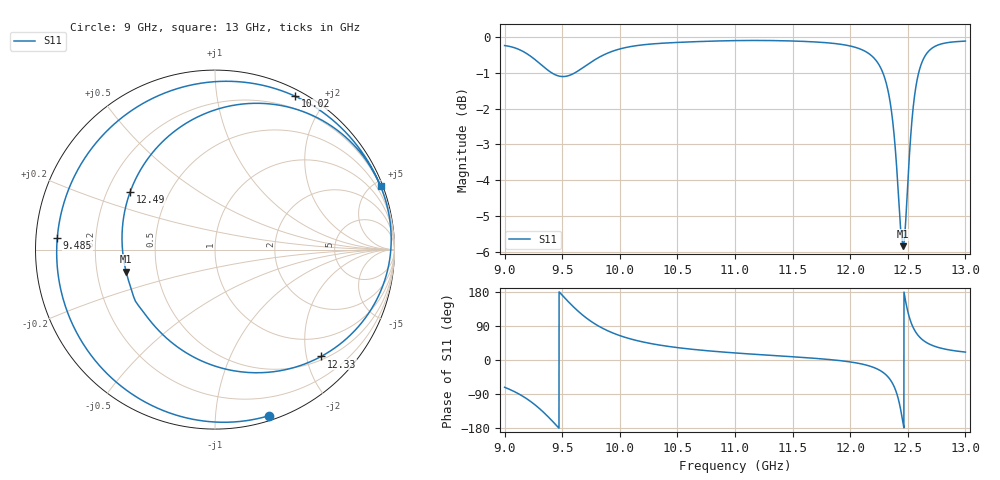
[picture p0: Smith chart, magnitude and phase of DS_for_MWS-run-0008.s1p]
! TOUCHSTONE file generated by CST DESIGN STUDIO
! Date and time: Tue Feb  4 14:01:45 2025
! Project name: C:\Work\MatlabApps\UnitCellOptimizationMatlab\CST\unitcell.cst
! Tree item: Tasks\Sweep1\SPara1\S-Parameters
! Header version: 2024
! Port assignment regex: !\s*Touchstone port\s*([0-9]+)\s*=\s*(CST MWS port|CST DES external port|CST DES block port)\s*(.+)\s* \(\"(.*)\"\)(\s*mode\s*([0-9]+))?.*
! Touchstone port assignment:
! Touchstone port 1 = CST DES external port 1 ("")
# GHz S MA R 50
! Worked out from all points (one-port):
!   4001 points, 9 GHz to 13 GHz, reference 50 ohm
!   lowest |S11| = -5.8 dB at 12.46 GHz (marker M1), VSWR 3.08, Z = 16.4 - j5.42 ohm
!   |S11| at or under -10 dB: nowhere
!   S11 on the Smith chart (normalised r, x): 9 GHz: 0.04, -1.38; 9.485 GHz: 0.06, +0.04; 10.02 GHz: 0.07, +1.65; 12.33 GHz: 0.57, -2.29; 12.49 GHz: 0.30, +0.28; 13 GHz: 0.20, +5.41
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9  0.9731 -72.0
9.149  0.9568 -94.0
9.26  0.9312 -117.4
9.387  0.8961 -152.6
9.485  0.8812 175.8
9.5  0.8807 170.9
9.611  0.8915 136.4
9.714  0.9142 109.8
9.832  0.9393 86.8
10  0.9624 64.4
10.02  0.9643 62.3
10.5  0.9829 32.7
11  0.9886 18.6
11.5  0.9874 8.6
12  0.9716 -5.1
12.218  0.9302 -21.4
12.33  0.8392 -45.2
12.405  0.652 -89.2
12.432  0.5559 -121.6
12.459  0.5103 -166.2
12.487  0.5717 145.7
12.5  0.6248 127.9
12.526  0.7303 101.0
12.555  0.8189 80.8
12.603  0.9022 60.3
12.66  0.9466 46.5
12.784  0.9775 31.5
13  0.9871 20.9
